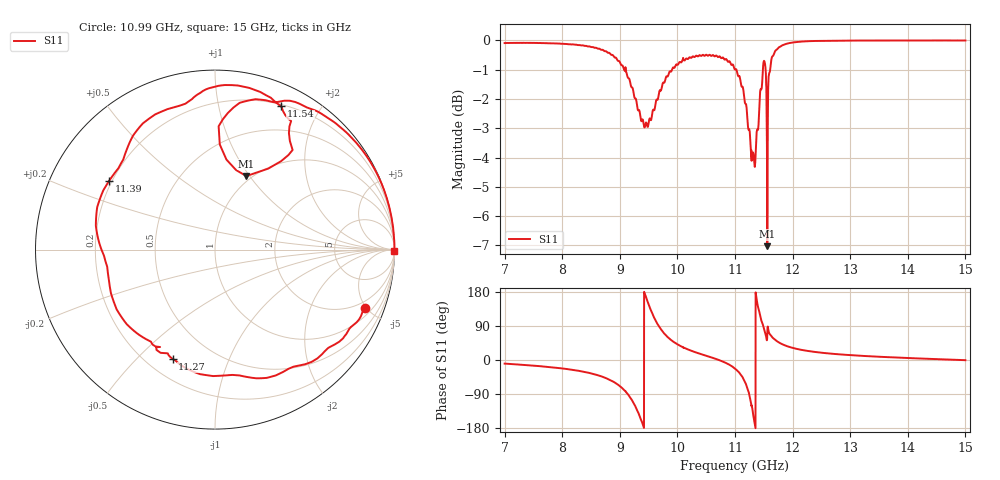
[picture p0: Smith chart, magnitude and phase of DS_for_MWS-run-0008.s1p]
! TOUCHSTONE file generated by CST DESIGN STUDIO
! Date and time: Mon Feb 10 16:50:54 2025
! Project name: C:\Work\MatlabApps\UnitCellType2OptimizationMatlab\CST\unitcell.cst
! Tree item: Tasks\Sweep1\SPara1\S-Parameters
! Header version: 2024
! Port assignment regex: !\s*Touchstone port\s*([0-9]+)\s*=\s*(CST MWS port|CST DES external port|CST DES block port)\s*(.+)\s* \(\"(.*)\"\)(\s*mode\s*([0-9]+))?.*
! Touchstone port assignment:
! Touchstone port 1 = CST DES external port 1 ("")
# GHz S MA R 50
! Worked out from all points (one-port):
!   4001 points, 7 GHz to 15 GHz, reference 50 ohm
!   lowest |S11| = -7.0 dB at 11.56 GHz (marker M1), VSWR 2.61, Z = 47.2 + j48.2 ohm
!   |S11| at or under -10 dB: nowhere
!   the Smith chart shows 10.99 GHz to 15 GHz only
!   S11 on the Smith chart (normalised r, x): 10.99 GHz: 1.48, -4.87; 11.27 GHz: 0.30, -0.64; 11.39 GHz: 0.19, +0.29; 11.54 GHz: 0.22, +1.54; 15 GHz: open
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7  0.9898 -9.5
8  0.9872 -22.2
8.624  0.9679 -40.4
9  0.9189 -69.0
9.24  0.8124 -114.2
9.352  0.7473 -151.6
9.428  0.7107 177.7
9.548  0.7341 128.8
9.654  0.792 95.0
9.804  0.8666 64.7
10  0.9086 41.4
10.478  0.9418 12.3
10.988  0.8958 -21.4
11  0.8919 -22.5
11.154  0.808 -52.5
11.224  0.7145 -78.9
11.274  0.6532 -111.2
11.34  0.6108 -167.7
11.39  0.7032 147.0
11.47  0.8429 99.5
11.536  0.8794 65.2
11.56  0.4453 66.9
11.616  0.8994 66.4
11.75  0.971 47.4
12  0.992 32.0
13  0.9996 12.9
14  0.9999 5.2
15  0.9999 -0.4
